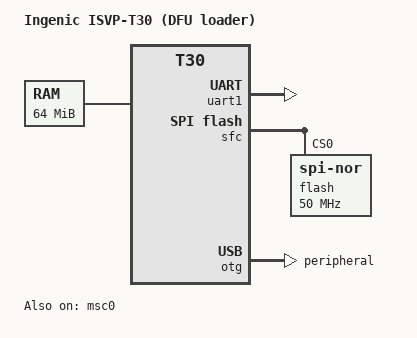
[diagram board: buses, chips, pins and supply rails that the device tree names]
// SPDX-License-Identifier: GPL-2.0+
/*
 * Ingenic ISVP-T30 shared DFU/USB-boot board body.
 *
 * Identical to t30-isvp.dtsi except the DWC2 OTG is dr_mode =
 * "peripheral" so the dwc2_udc_otg gadget binds, and the audio nodes
 * stay off. Used by the usbboot defconfig. Production NOR uses
 * t30-isvp.dtsi (dr_mode="host").
 *
 * The per-SKU leaf .dts files (t30l-isvp-dfu.dts, ...) include this
 * and set the DDR node's per-SKU compatible; the matching
 * <leaf>-u-boot.dtsi pulls in t30-isvp-dfu-uboot-common.dtsi.
 */

#include <dt-bindings/gpio/gpio.h>
#include "t30.dtsi"

/ {
	compatible = "ingenic,isvp-t30", "ingenic,t30";
	model = "Ingenic ISVP-T30 (DFU loader)";

	aliases {
		serial1 = &uart1;
	};

	chosen {
		stdout-path = "serial1:115200n8";
	};

	memory {
		device_type = "memory";
		reg = <0x0 0x04000000>;	/* 64 MB DDR2 (T30N) */
	};
};

&uart1 {
	status = "okay";
};

&sfc {
	status = "okay";

	flash@0 {
		compatible = "jedec,spi-nor";
		reg = <0>;
		spi-max-frequency = <50000000>;
	};
};

&msc0 {
	status = "okay";
	bus-width = <4>;
	broken-cd;
};

&otg {
	status = "okay";
	dr_mode = "peripheral";		/* gadget bind for DFU/g_dnl */
};
